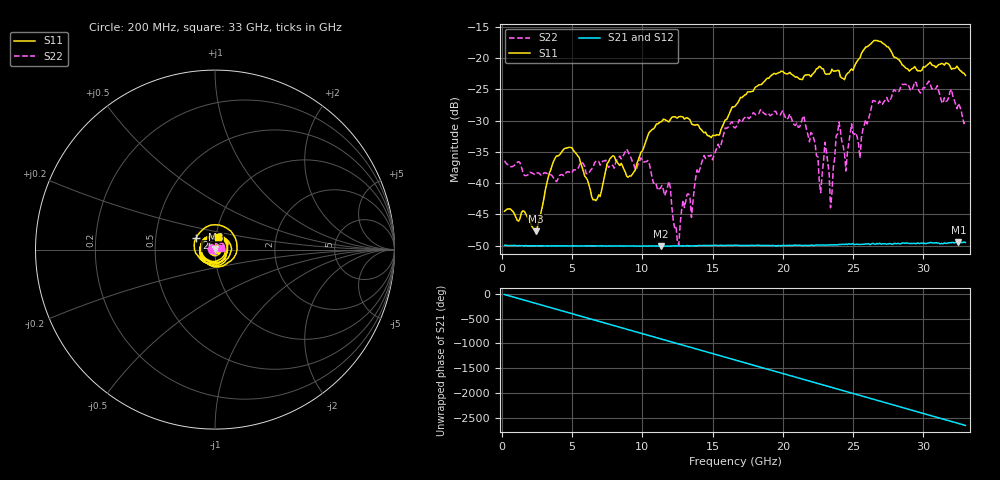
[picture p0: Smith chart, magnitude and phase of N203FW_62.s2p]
# GHZ S RI R 50
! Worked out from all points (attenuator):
!   329 points, 200 MHz to 33 GHz, reference 50 ohm
!   highest |S21| = -49.42 dB at 32.5 GHz (marker M1); lowest = -50.1 dB at 11.3 GHz (marker M2)
!   lowest |S11| = -47.7 dB at 2.4 GHz (marker M3), VSWR 1.01, Z = 50.2 + j0.343 ohm
!   |S11| at or under -10 dB: start of sweep to end of sweep
!   |S22| runs from -49.9 to -23.7 dB; largest |S21 - S12| = 8.8e-05
!   S11 on the Smith chart (normalised r, x): 200 MHz: 1.01, +0.00; 26 GHz: 0.80, +0.11; 33 GHz: 1.02, +0.15
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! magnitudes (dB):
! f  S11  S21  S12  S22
! 200 MHz  -44.5  -50.0  -49.9  -36.4
! 2.4 GHz  -47.7  -50.0  -50.0  -38.6
! 3.8 GHz  -36.0  -50.0  -50.0  -39.5
! 5.7 GHz  -37.3  -50.0  -50.0  -36.7
! 6.7 GHz  -42.8  -50.0  -50.0  -36.5
! 11.2 GHz  -30.3  -50.1  -50.1  -40.9
! 11.3 GHz  -30.2  -50.1  -50.1  -40.8
! 12.6 GHz  -29.3  -50.1  -50.0  -49.9
! 13.9 GHz  -30.6  -50.0  -50.0  -37.9
! 16.6 GHz  -27.7  -49.9  -49.9  -31.2
! 22.1 GHz  -22.6  -49.9  -49.9  -32.1
! 22.7 GHz  -21.4  -49.9  -49.9  -41.5
! 23 GHz  -22.4  -49.9  -49.9  -33.5
! 23.4 GHz  -22.4  -49.9  -49.9  -43.9
! 24 GHz  -22.0  -49.8  -49.8  -30.2
! 24.5 GHz  -22.7  -49.7  -49.7  -38.1
! 24.9 GHz  -21.7  -49.8  -49.7  -30.5
! 25.5 GHz  -19.9  -49.8  -49.8  -36.0
! 26 GHz  -18.2  -49.7  -49.7  -30.5
! 27.6 GHz  -18.5  -49.7  -49.7  -27.0
! 32.5 GHz  -21.6  -49.4  -49.4  -27.2
! 33 GHz  -22.7  -49.5  -49.5  -29.9
